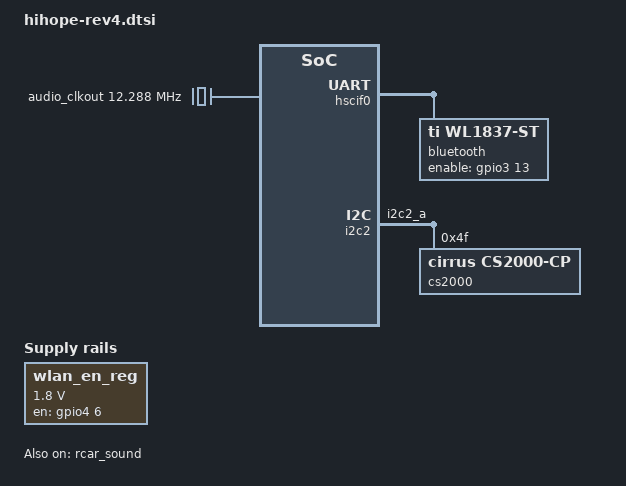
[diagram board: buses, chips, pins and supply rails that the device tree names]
// SPDX-License-Identifier: GPL-2.0
/*
 * Device Tree Source for the HiHope RZ/G2H Rev.4.0 and
 * HiHope RZ/G2[MN] Rev.3.0/4.0 main board common parts
 *
 * Copyright (C) 2020 Renesas Electronics Corp.
 */

#include <dt-bindings/gpio/gpio.h>
#include "hihope-common.dtsi"

/ {
	audio_clkout: audio-clkout {
		/*
		 * This is same as <&rcar_sound 0>
		 * but needed to avoid cs2000/rcar_sound probe dead-lock
		 */
		compatible = "fixed-clock";
		#clock-cells = <0>;
		clock-frequency = <12288000>;
	};

	wlan_en_reg: regulator-wlan_en {
		compatible = "regulator-fixed";
		regulator-name = "wlan-en-regulator";
		regulator-min-microvolt = <1800000>;
		regulator-max-microvolt = <1800000>;
		startup-delay-us = <70000>;

		gpio = <&gpio4 6 GPIO_ACTIVE_HIGH>;
		enable-active-high;
	};

	x1801_clk: x1801-clock {
		compatible = "fixed-clock";
		#clock-cells = <0>;
		clock-frequency = <24576000>;
	};
};

&hscif0 {
	bluetooth {
		compatible = "ti,wl1837-st";
		enable-gpios = <&gpio3 13 GPIO_ACTIVE_HIGH>;
	};
};

&i2c2 {
	pinctrl-0 = <&i2c2_pins>;
	pinctrl-names = "default";
	status = "okay";

	cs2000: clk_multiplier@4f {
		#clock-cells = <0>;
		compatible = "cirrus,cs2000-cp";
		reg = <0x4f>;
		clocks = <&audio_clkout>, <&x1801_clk>;
		clock-names = "clk_in", "ref_clk";

		assigned-clocks = <&cs2000>;
		assigned-clock-rates = <24576000>; /* 1/1 divide */
	};
};

&pfc {
	i2c2_pins: i2c2 {
		groups = "i2c2_a";
		function = "i2c2";
	};

	sound_clk_pins: sound_clk {
		groups = "audio_clk_a_a", "audio_clk_b_a", "audio_clkout_a";
		function = "audio_clk";
	};

	sound_pins: sound {
		groups = "ssi01239_ctrl", "ssi0_data", "ssi1_data_a";
		function = "ssi";
	};
};

&rcar_sound {
	pinctrl-0 = <&sound_pins>, <&sound_clk_pins>;
	pinctrl-names = "default";
	status = "okay";

	/* Single DAI */
	#sound-dai-cells = <0>;

	/* audio_clkout0/1/2/3 */
	#clock-cells = <1>;
	clock-frequency = <12288000 11289600>;

	/*
	 * Update <audio_clk_b> to <cs2000>
	 * Switch SW2404 should be at position 1 so that clock from
	 * CS2000 is connected to AUDIO_CLKB_A
	 */
	clocks = <&cpg CPG_MOD 1005>,
		 <&cpg CPG_MOD 1006>, <&cpg CPG_MOD 1007>,
		 <&cpg CPG_MOD 1008>, <&cpg CPG_MOD 1009>,
		 <&cpg CPG_MOD 1010>, <&cpg CPG_MOD 1011>,
		 <&cpg CPG_MOD 1012>, <&cpg CPG_MOD 1013>,
		 <&cpg CPG_MOD 1014>, <&cpg CPG_MOD 1015>,
		 <&cpg CPG_MOD 1022>, <&cpg CPG_MOD 1023>,
		 <&cpg CPG_MOD 1024>, <&cpg CPG_MOD 1025>,
		 <&cpg CPG_MOD 1026>, <&cpg CPG_MOD 1027>,
		 <&cpg CPG_MOD 1028>, <&cpg CPG_MOD 1029>,
		 <&cpg CPG_MOD 1030>, <&cpg CPG_MOD 1031>,
		 <&cpg CPG_MOD 1020>, <&cpg CPG_MOD 1021>,
		 <&cpg CPG_MOD 1020>, <&cpg CPG_MOD 1021>,
		 <&cpg CPG_MOD 1019>, <&cpg CPG_MOD 1018>,
		 <&audio_clk_a>, <&cs2000>,
		 <&audio_clk_c>,
		 <&cpg CPG_CORE CPG_AUDIO_CLK_I>;

	rsnd_port: port {
		rsnd_endpoint: endpoint {
			remote-endpoint = <&dw_hdmi0_snd_in>;

			dai-format = "i2s";
			bitclock-master = <&rsnd_endpoint>;
			frame-master = <&rsnd_endpoint>;

			playback = <&ssi2>;
		};
	};
};
